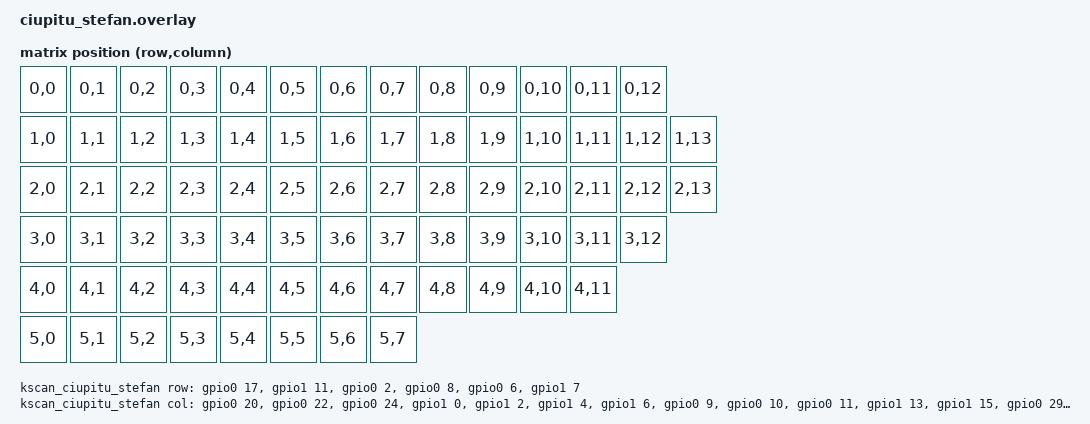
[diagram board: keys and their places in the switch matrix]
#include <dt-bindings/zmk/matrix_transform.h>
#include <dt-bindings/gpio/gpio.h>

/ {
    chosen {
        zmk,kscan = &kscan_ciupitu_stefan;
    };

    kscan_ciupitu_stefan: kscan {
        compatible = "zmk,kscan-gpio-matrix";
        diode-direction = "col2row";
        wakeup-source;

        col-gpios
            = <&gpio0 20 GPIO_ACTIVE_HIGH> // Col 0
            , <&gpio0 22 GPIO_ACTIVE_HIGH> // Col 1
            , <&gpio0 24 GPIO_ACTIVE_HIGH> // Col 2
            , <&gpio1 0 GPIO_ACTIVE_HIGH>  // Col 3
            , <&gpio1 2 GPIO_ACTIVE_HIGH>  // Col 4
            , <&gpio1 4 GPIO_ACTIVE_HIGH>  // Col 5
            , <&gpio1 6 GPIO_ACTIVE_HIGH>  // Col 6
            , <&gpio0 9 GPIO_ACTIVE_HIGH>  // Col 7
            , <&gpio0 10 GPIO_ACTIVE_HIGH> // Col 8
            , <&gpio0 11 GPIO_ACTIVE_HIGH> // Col 9
            , <&gpio1 13 GPIO_ACTIVE_HIGH> // Col 10
            , <&gpio1 15 GPIO_ACTIVE_HIGH> // Col 11
            , <&gpio0 29 GPIO_ACTIVE_HIGH> // Col 12
            , <&gpio0 31 GPIO_ACTIVE_HIGH> // Col 13
            ;

        row-gpios
            = <&gpio0 17 (GPIO_PULL_DOWN | GPIO_ACTIVE_HIGH)>  // Rând 0
            , <&gpio1 11 (GPIO_PULL_DOWN | GPIO_ACTIVE_HIGH)>  // Rând 1
            , <&gpio0 2 (GPIO_PULL_DOWN | GPIO_ACTIVE_HIGH)>   // Rând 2
            , <&gpio0 8 (GPIO_PULL_DOWN | GPIO_ACTIVE_HIGH)>   // Rând 3
            , <&gpio0 6 (GPIO_PULL_DOWN | GPIO_ACTIVE_HIGH)>   // Rând 4
            , <&gpio1 7 (GPIO_PULL_DOWN | GPIO_ACTIVE_HIGH)>   // Rând 5
            ;
    };

    // Definim layout-ul fizic direct aici, într-un nod standard `zmk,layout`
    // Acesta va fi referit din fisierul .keymap
    layout {
        compatible = "zmk,layout";
        display-name = "Ciupitu Stefan Layout";

        transform_1: matrix_transform {
            compatible = "zmk,matrix-transform";
            columns = ;
            rows = ;
            map = <
            // 74 de taste in total, definite exact cum trebuie sa fie
            RC(0,0) RC(0,1) RC(0,2) RC(0,3) RC(0,4)   RC(0,5)   RC(0,6)   RC(0,7) RC(0,8) RC(0,9) RC(0,10) RC(0,11) RC(0,12)
            RC(1,0) RC(1,1) RC(1,2) RC(1,3) RC(1,4)   RC(1,5)   RC(1,6)   RC(1,7) RC(1,8) RC(1,9) RC(1,10) RC(1,11) RC(1,12) RC(1,13)
            RC(2,0) RC(2,1) RC(2,2) RC(2,3) RC(2,4)   RC(2,5)   RC(2,6)   RC(2,7) RC(2,8) RC(2,9) RC(2,10) RC(2,11) RC(2,12) RC(2,13)
            RC(3,0) RC(3,1) RC(3,2) RC(3,3) RC(3,4)   RC(3,5)   RC(3,6)   RC(3,7) RC(3,8) RC(3,9) RC(3,10) RC(3,11) RC(3,12)
            RC(4,0) RC(4,1) RC(4,2) RC(4,3) RC(4,4)   RC(4,5)   RC(4,6)   RC(4,7) RC(4,8) RC(4,9) RC(4,10) RC(4,11)
            RC(5,0) RC(5,1) RC(5,2) RC(5,3) RC(5,4)   RC(5,5)   RC(5,6)   RC(5,7)
            >;
        };
    };
};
